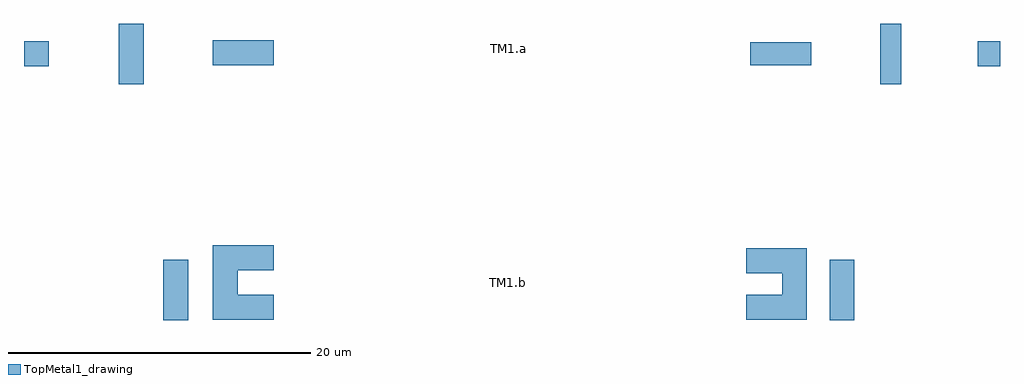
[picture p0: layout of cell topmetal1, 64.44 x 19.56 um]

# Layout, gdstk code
import gdstk
lib = gdstk.Library(unit=1e-6, precision=1e-09)
def R(c, l, rs):  # rectangles x0, y0, x1, y1
    for r in rs: c.add(gdstk.rectangle(r[:2], r[2:], *l))
def P(c, l, *ps):  # polygons
    for p in ps: c.add(gdstk.Polygon(p, *l))
TopMetal1_drawing = (126, 0)

topmetal1 = lib.new_cell('topmetal1')
R(topmetal1, TopMetal1_drawing, [(-22.75,-24.98,-21.11,-20.98), (21.24,-24.98,22.88,-20.98), (-25.675,-9.42,-24.035,-5.42), (24.58,-9.42,25.96,-5.42), (-31.945,-8.215,-30.305,-6.575), (31.03,-8.215,32.49,-6.575), (-19.47,-8.15,-15.47,-6.51), (16.015,-8.15,20.015,-6.63)])
P(topmetal1, TopMetal1_drawing, [(-19.47,-24.95),(-19.47,-20.03),(-15.47,-20.03),(-15.47,-21.67),(-17.83,-21.67),(-17.83,-23.31),(-15.47,-23.31),(-15.47,-24.95)],
  [(15.74,-24.95),(15.74,-23.31),(18.1,-23.31),(18.1,-21.89),(15.74,-21.89),(15.74,-20.25),(19.74,-20.25),(19.74,-24.95)])
topmetal1.add(gdstk.Label('TM1.a', (0.06,-7.035), layer=63, texttype=0))
topmetal1.add(gdstk.Label('TM1.b', (0.06,-22.475), layer=63, texttype=0))
topmetal1.add(gdstk.Label('PASS', (-12,5), layer=63, texttype=0))
topmetal1.add(gdstk.Label('FAIL', (12,5), layer=63, texttype=0))
topmetal1.add(gdstk.Label('5.22 TopMetal1', (0,21), layer=63, texttype=0))

lib.write_gds('topmetal1.gds')
